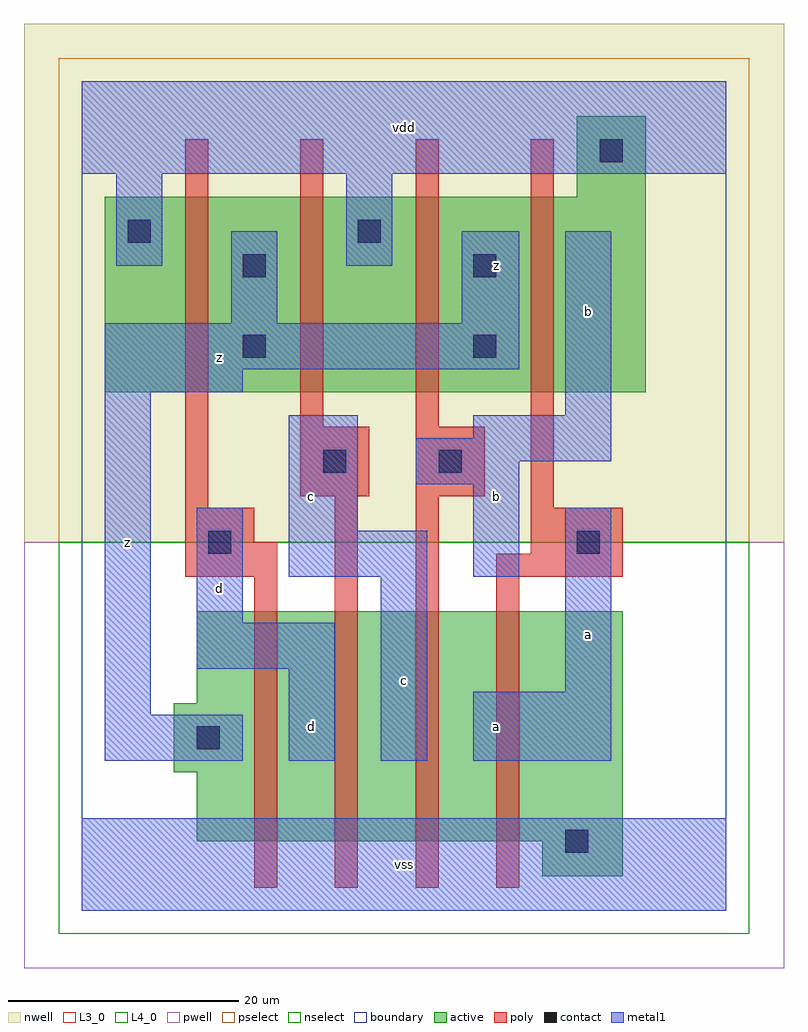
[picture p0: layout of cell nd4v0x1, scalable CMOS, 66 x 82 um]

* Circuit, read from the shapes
.subckt nd4v0x1 a b c d vdd vss z
M1 n1 d z VSUBS nfet w=20u l=2u
M2 n2 c n1 VSUBS nfet w=20u l=2u
M3 n3 b n2 VSUBS nfet w=20u l=2u
M4 vss a n3 VSUBS nfet w=20u l=2u
M5 z d vdd n4 pfet w=17u l=2u
M6 vdd c z n4 pfet w=17u l=2u
M7 z b vdd n4 pfet w=17u l=2u
M8 vdd a z n4 pfet w=17u l=2u
.ends

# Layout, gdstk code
import gdstk
lib = gdstk.Library(unit=1e-6, precision=1e-09)
def R(c, l, rs):  # rectangles x0, y0, x1, y1
    for r in rs: c.add(gdstk.rectangle(r[:2], r[2:], *l))
L3_0 = (3, 0)
L4_0 = (4, 0)
contact = (25, 0)
pwell = (41, 0)
nwell = (42, 0)
active = (43, 0)
pselect = (44, 0)
nselect = (45, 0)
poly = (46, 0)
metal1 = (49, 0)
boundary = (63, 0)

nd4v0x1 = lib.new_cell('nd4v0x1')
R(nd4v0x1, L3_0, [(40,3,47,6), (10,6,47,12), (8,12,47,18), (10,18,47,26)])
R(nd4v0x1, L4_0, [(2,45,49,62), (43,62,49,69)])
R(nd4v0x1, contact, [(42,5,44,7), (10,14,12,16), (11,31,13,33), (43,31,45,33), (21,38,23,40), (31,38,33,40), (14,48,16,50), (34,48,36,50), (14,55,16,57), (34,55,36,57), (4,58,6,60), (24,58,26,60), (45,65,47,67)])
R(nd4v0x1, pwell, [(-5,-5,61,32)])
R(nd4v0x1, nwell, [(-5,32,61,77)])
R(nd4v0x1, active, [(40,3,47,6), (10,6,47,12), (8,12,47,18), (10,18,47,26), (2,45,49,62), (43,62,49,69)])
R(nd4v0x1, pselect, [(-2,32,58,74)])
R(nd4v0x1, nselect, [(-2,-2,58,32)])
R(nd4v0x1, poly, [(15,2,17,29), (22,2,24,36), (29,2,31,36), (36,2,38,29), (9,29,17,32), (36,29,47,31), (39,31,47,35), (9,32,15,35), (9,35,11,67), (39,35,41,67), (19,36,25,42), (29,36,35,42), (19,42,21,67), (29,42,31,67)])
R(nd4v0x1, metal1, [(0,0,56,8), (2,13,14,17), (18,13,22,21), (26,13,30,29), (34,13,46,19), (2,17,6,45), (42,19,46,35), (10,21,22,25), (10,25,14,35), (18,29,30,33), (34,29,38,37), (18,33,24,43), (29,37,38,39), (29,39,46,41), (34,41,46,43), (42,43,46,59), (2,45,14,47), (2,47,38,51), (13,51,17,59), (33,51,38,59), (3,56,7,64), (23,56,27,64), (0,64,56,72)])
R(nd4v0x1, boundary, [(0,0,56,72)])
nd4v0x1.add(gdstk.Label('z', (4,32), layer=49, texttype=0))
nd4v0x1.add(gdstk.Label('d', (20,16), layer=49, texttype=0))
nd4v0x1.add(gdstk.Label('d', (12,28), layer=49, texttype=0))
nd4v0x1.add(gdstk.Label('c', (20,36), layer=49, texttype=0))
nd4v0x1.add(gdstk.Label('z', (12,48), layer=49, texttype=0))
nd4v0x1.add(gdstk.Label('vss', (28,4), layer=49, texttype=0))
nd4v0x1.add(gdstk.Label('a', (36,16), layer=49, texttype=0))
nd4v0x1.add(gdstk.Label('c', (28,20), layer=49, texttype=0))
nd4v0x1.add(gdstk.Label('b', (36,36), layer=49, texttype=0))
nd4v0x1.add(gdstk.Label('z', (36,56), layer=49, texttype=0))
nd4v0x1.add(gdstk.Label('vdd', (28,68), layer=49, texttype=0))
nd4v0x1.add(gdstk.Label('a', (44,24), layer=49, texttype=0))
nd4v0x1.add(gdstk.Label('b', (44,52), layer=49, texttype=0))

lib.write_gds('nd4v0x1.gds')
